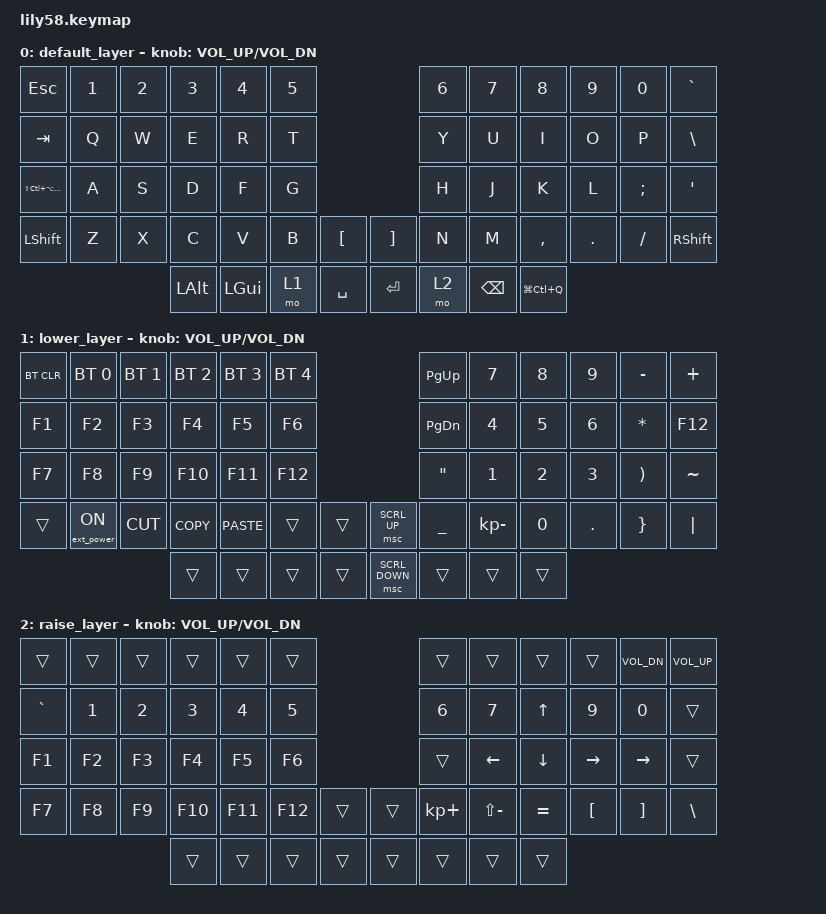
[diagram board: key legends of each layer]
/*
 * Copyright (c) 2020 The ZMK Contributors
 *
 * SPDX-License-Identifier: MIT
 */

#include <behaviors.dtsi>
#include <dt-bindings/zmk/bt.h>
#include <dt-bindings/zmk/ext_power.h>
#include <dt-bindings/zmk/keys.h>
#include <dt-bindings/zmk/pointing.h>

/ {
    keymap {
        compatible = "zmk,keymap";

        default_layer {
            // ------------------------------------------------------------------------------------------------------------
            // |  ESC  |  1  |  2  |  3   |  4   |  5   |                   |  6   |  7    |  8    |  9   |   0   |   `   |
            // |  TAB  |  Q  |  W  |  E   |  R   |  T   |                   |  Y   |  U    |  I    |  O   |   P   |   -   |
            // |  CTRL |  A  |  S  |  D   |  F   |  G   |                   |  H   |  J    |  K    |  L   |   ;   |   '   |
            // | SHIFT |  Z  |  X  |  C   |  V   |  B   |   "["  |  |  "]"  |  N   |  M    |  ,    |  .   |   /   | SHIFT |
            //                     | ALT  | GUI  | LOWER|  SPACE |  | ENTER | RAISE| BSPC  | GUI   |

            bindings = <
&kp ESC                    &kp N1  &kp N2  &kp N3    &kp N4    &kp N5                         &kp N6  &kp N7    &kp N8         &kp N9   &kp N0    &kp GRAVE
&kp TAB                    &kp Q   &kp W   &kp E     &kp R     &kp T                          &kp Y   &kp U     &kp I          &kp O    &kp P     &kp BACKSLASH
&kp LS(LC(LA(LG(LCTRL))))  &kp A   &kp S   &kp D     &kp F     &kp G                          &kp H   &kp J     &kp K          &kp L    &kp SEMI  &kp SQT
&kp LSHFT                  &kp Z   &kp X   &kp C     &kp V     &kp B   &kp LBKT     &kp RBKT  &kp N   &kp M     &kp COMMA      &kp DOT  &kp FSLH  &kp RSHFT
                                           &kp LALT  &kp LGUI  &mo 1   &kp SPACE    &kp RET   &mo 2   &kp BSPC  &kp LG(LC(Q))
            >;

            sensor-bindings = <&inc_dec_kp C_VOL_UP C_VOL_DN>;
        };

        lower_layer {
            // ------------------------------------------------------------------------------------------------------------
            // | BTCLR | BT1 | BT2 |  BT3 |  BT4 |  BT5 |                   |      |       |       |      |       |       |
            // |  F1   |  F2 |  F3 |  F4  |  F5  |  F6  |                   |  F7  |  F8   |  F9   |  F10 |  F11  |  F12  |
            // |   `   |  !  |  @  |  #   |  $   |  %   |                   |  ^   |  &    |  *    |  (   |   )   |   ~   |
            // |       |     |     |      |      |      |        |  |       |      |  _    |  +    |  {   |   }   |  "|"  |
            //                     |      |      |      |        |  |       |      |       |       |

            bindings = <
&bt BT_CLR  &bt BT_SEL 0      &bt BT_SEL 1  &bt BT_SEL 2  &bt BT_SEL 3  &bt BT_SEL 4                            &kp PAGE_UP        &kp NUMBER_7  &kp NUMBER_8  &kp NUMBER_9  &kp MINUS  &kp PLUS
&kp F1      &kp F2            &kp F3        &kp F4        &kp F5        &kp F6                                  &kp PAGE_DOWN      &kp NUMBER_4  &kp NUMBER_5  &kp NUMBER_6  &kp STAR   &kp F12
&kp F7      &kp F8            &kp F9        &kp F10       &kp F11       &kp F12                                 &kp DOUBLE_QUOTES  &kp NUMBER_1  &kp NUMBER_2  &kp NUMBER_3  &kp RPAR   &kp TILDE
&trans      &ext_power EP_ON  &kp K_CUT     &kp K_COPY    &kp K_PASTE   &trans        &trans    &msc SCRL_UP    &kp UNDER          &kp KP_MINUS  &kp NUMBER_0  &kp PERIOD    &kp RBRC   &kp PIPE
                                            &trans        &trans        &trans        &trans    &msc SCRL_DOWN  &trans             &trans        &trans
            >;

            sensor-bindings = <&inc_dec_kp C_VOL_UP C_VOL_DN>;
        };

        raise_layer {
            // ------------------------------------------------------------------------------------------------------------
            // |       |     |     |      |      |      |                   |      |       |       |      |       |       |
            // |   `   |  1  |  2  |  3   |  4   |  5   |                   |  6   |   7   |   8   |  9   |   0   |       |
            // |   F1  |  F2 |  F3 |  F4  |  F5  |  F6  |                   |      |   <-  |   v   |  ^   |  ->   |       |
            // |   F7  |  F8 |  F9 |  F10 |  F11 |  F12 |        |  |       |  +   |   -   |   =   |  [   |   ]   |   \   |
            //                     |      |      |      |        |  |       |      |       |       |

            bindings = <
&trans     &trans  &trans  &trans   &trans   &trans                     &trans       &trans         &trans        &trans     &kp C_VOL_DN  &kp C_VOLUME_UP
&kp GRAVE  &kp N1  &kp N2  &kp N3   &kp N4   &kp N5                     &kp N6       &kp N7         &kp UP_ARROW  &kp N9     &kp N0        &trans
&kp F1     &kp F2  &kp F3  &kp F4   &kp F5   &kp F6                     &trans       &kp LEFT       &kp DOWN      &kp RIGHT  &kp RIGHT     &trans
&kp F7     &kp F8  &kp F9  &kp F10  &kp F11  &kp F12  &trans    &trans  &kp KP_PLUS  &kp LS(MINUS)  &kp EQUAL     &kp LBKT   &kp RBKT      &kp BSLH
                           &trans   &trans   &trans   &trans    &trans  &trans       &trans         &trans
            >;

            sensor-bindings = <&inc_dec_kp C_VOL_UP C_VOL_DN>;
        };
    };
};
